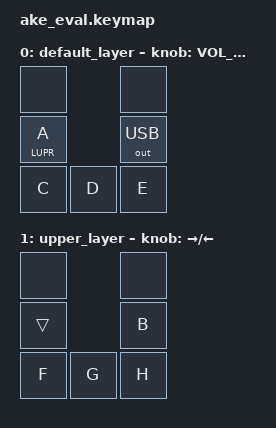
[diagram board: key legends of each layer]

#include <behaviors.dtsi>
#include <dt-bindings/zmk/keys.h>
#include <dt-bindings/zmk/bt.h>
#include <dt-bindings/zmk/outputs.h>

#define LDEF 0
#define LUPR 1
#define LLOW 2

/ {
    keymap {
        compatible = "zmk,keymap";

        default_layer {
            bindings = <
                &none           &none
                &lt LUPR A    &out OUT_USB
                &kp C &kp D &kp E
            >;
            sensor-bindings = <&inc_dec_kp C_VOL_UP C_VOL_DN >;
        };

        upper_layer {
            bindings = <
                &none     &none
                &trans    &kp B
                &kp F &kp G &kp H
            >;
            sensor-bindings = <&inc_dec_kp RIGHT LEFT >;
        };

    };
};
